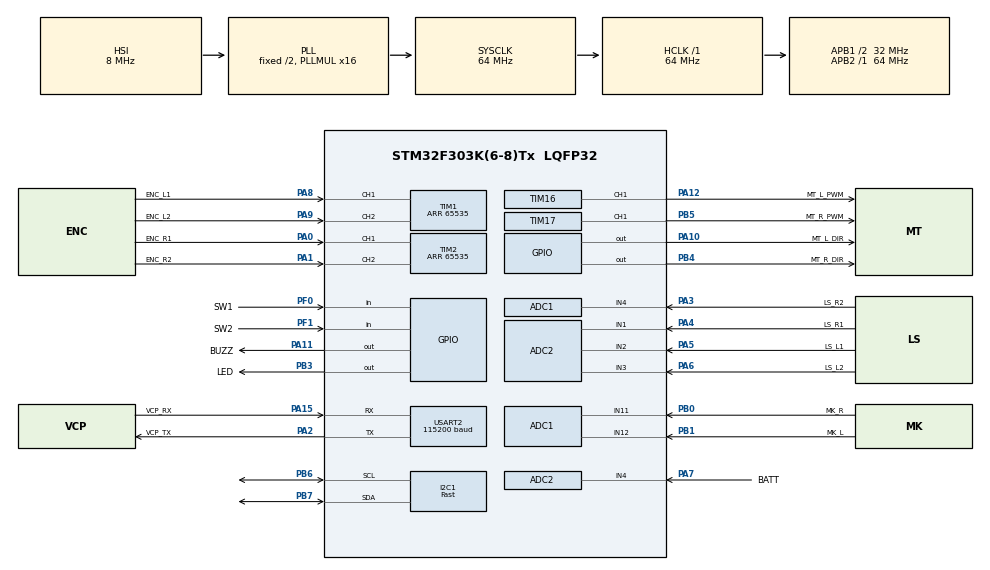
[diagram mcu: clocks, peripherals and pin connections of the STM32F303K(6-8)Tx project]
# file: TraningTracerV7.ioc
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ADC1.Channel-2\#ChannelRegularConversion=ADC_CHANNEL_4
ADC1.Channel-3\#ChannelRegularConversion=ADC_CHANNEL_11
ADC1.Channel-4\#ChannelRegularConversion=ADC_CHANNEL_12
ADC1.ClockPrescaler=ADC_CLOCK_SYNC_PCLK_DIV4
ADC1.ContinuousConvMode=ENABLE
ADC1.DMAContinuousRequests=ENABLE
ADC1.EOCSelection=ADC_EOC_SEQ_CONV
ADC1.EnableRegularConversion=ENABLE
ADC1.NbrOfConversion=3
ADC1.NbrOfConversionFlag=1
ADC1.Offset-2\#ChannelRegularConversion=0
ADC1.Offset-3\#ChannelRegularConversion=0
ADC1.Offset-4\#ChannelRegularConversion=0
ADC1.OffsetNumber-2\#ChannelRegularConversion=ADC_OFFSET_NONE
ADC1.OffsetNumber-3\#ChannelRegularConversion=ADC_OFFSET_NONE
ADC1.OffsetNumber-4\#ChannelRegularConversion=ADC_OFFSET_NONE
ADC1.Rank-2\#ChannelRegularConversion=1
ADC1.Rank-3\#ChannelRegularConversion=2
ADC1.Rank-4\#ChannelRegularConversion=3
ADC1.SamplingTime-2\#ChannelRegularConversion=ADC_SAMPLETIME_181CYCLES_5
ADC1.SamplingTime-3\#ChannelRegularConversion=ADC_SAMPLETIME_181CYCLES_5
ADC1.SamplingTime-4\#ChannelRegularConversion=ADC_SAMPLETIME_181CYCLES_5
ADC1.SubFamily=STM32F303x8
ADC1.master=1
ADC2.Channel-1\#ChannelRegularConversion=ADC_CHANNEL_1
ADC2.Channel-2\#ChannelRegularConversion=ADC_CHANNEL_2
ADC2.Channel-3\#ChannelRegularConversion=ADC_CHANNEL_3
ADC2.Channel-4\#ChannelRegularConversion=ADC_CHANNEL_4
ADC2.ClockPrescaler=ADC_CLOCK_SYNC_PCLK_DIV4
ADC2.ContinuousConvMode=ENABLE
ADC2.DMAContinuousRequests=ENABLE
ADC2.EOCSelection=ADC_EOC_SEQ_CONV
ADC2.EnableRegularConversion=ENABLE
ADC2.NbrOfConversion=4
ADC2.NbrOfConversionFlag=1
ADC2.Offset-1\#ChannelRegularConversion=0
ADC2.Offset-2\#ChannelRegularConversion=0
ADC2.Offset-3\#ChannelRegularConversion=0
ADC2.Offset-4\#ChannelRegularConversion=0
ADC2.OffsetNumber-1\#ChannelRegularConversion=ADC_OFFSET_NONE
ADC2.OffsetNumber-2\#ChannelRegularConversion=ADC_OFFSET_NONE
ADC2.OffsetNumber-3\#ChannelRegularConversion=ADC_OFFSET_NONE
ADC2.OffsetNumber-4\#ChannelRegularConversion=ADC_OFFSET_NONE
ADC2.Rank-1\#ChannelRegularConversion=1
ADC2.Rank-2\#ChannelRegularConversion=2
ADC2.Rank-3\#ChannelRegularConversion=3
ADC2.Rank-4\#ChannelRegularConversion=4
ADC2.SamplingTime-1\#ChannelRegularConversion=ADC_SAMPLETIME_181CYCLES_5
ADC2.SamplingTime-2\#ChannelRegularConversion=ADC_SAMPLETIME_181CYCLES_5
ADC2.SamplingTime-3\#ChannelRegularConversion=ADC_SAMPLETIME_181CYCLES_5
ADC2.SamplingTime-4\#ChannelRegularConversion=ADC_SAMPLETIME_181CYCLES_5
ADC2.SubFamily=STM32F303x8
Dma.ADC1.2.Direction=DMA_PERIPH_TO_MEMORY
Dma.ADC1.2.Instance=DMA1_Channel1
Dma.ADC1.2.MemDataAlignment=DMA_MDATAALIGN_HALFWORD
Dma.ADC1.2.MemInc=DMA_MINC_ENABLE
Dma.ADC1.2.Mode=DMA_CIRCULAR
Dma.ADC1.2.PeriphDataAlignment=DMA_PDATAALIGN_HALFWORD
Dma.ADC1.2.PeriphInc=DMA_PINC_DISABLE
Dma.ADC1.2.Priority=DMA_PRIORITY_HIGH
Dma.ADC2.3.Direction=DMA_PERIPH_TO_MEMORY
Dma.ADC2.3.Instance=DMA1_Channel2
Dma.ADC2.3.MemDataAlignment=DMA_MDATAALIGN_HALFWORD
Dma.ADC2.3.MemInc=DMA_MINC_ENABLE
Dma.ADC2.3.Mode=DMA_CIRCULAR
Dma.ADC2.3.PeriphDataAlignment=DMA_PDATAALIGN_HALFWORD
Dma.ADC2.3.PeriphInc=DMA_PINC_DISABLE
Dma.ADC2.3.Priority=DMA_PRIORITY_HIGH
Dma.I2C1_RX.4.Direction=DMA_PERIPH_TO_MEMORY
Dma.I2C1_RX.4.Instance=DMA1_Channel3
Dma.I2C1_RX.4.MemDataAlignment=DMA_MDATAALIGN_BYTE
Dma.I2C1_RX.4.MemInc=DMA_MINC_ENABLE
Dma.I2C1_RX.4.Mode=DMA_NORMAL
Dma.I2C1_RX.4.PeriphDataAlignment=DMA_PDATAALIGN_BYTE
Dma.I2C1_RX.4.PeriphInc=DMA_PINC_DISABLE
Dma.I2C1_RX.4.Priority=DMA_PRIORITY_LOW
Dma.I2C1_TX.5.Direction=DMA_MEMORY_TO_PERIPH
Dma.I2C1_TX.5.Instance=DMA1_Channel4
Dma.I2C1_TX.5.MemDataAlignment=DMA_MDATAALIGN_BYTE
Dma.I2C1_TX.5.MemInc=DMA_MINC_ENABLE
Dma.I2C1_TX.5.Mode=DMA_NORMAL
Dma.I2C1_TX.5.PeriphDataAlignment=DMA_PDATAALIGN_BYTE
Dma.I2C1_TX.5.PeriphInc=DMA_PINC_DISABLE
Dma.I2C1_TX.5.Priority=DMA_PRIORITY_LOW
Dma.Request0=USART2_RX
Dma.Request1=USART2_TX
Dma.Request2=ADC1
Dma.Request3=ADC2
Dma.Request4=I2C1_RX
Dma.Request5=I2C1_TX
Dma.USART2_RX.0.Direction=DMA_PERIPH_TO_MEMORY
Dma.USART2_RX.0.Instance=DMA1_Channel6
Dma.USART2_RX.0.MemDataAlignment=DMA_MDATAALIGN_BYTE
Dma.USART2_RX.0.MemInc=DMA_MINC_ENABLE
Dma.USART2_RX.0.Mode=DMA_CIRCULAR
Dma.USART2_RX.0.PeriphDataAlignment=DMA_PDATAALIGN_BYTE
Dma.USART2_RX.0.PeriphInc=DMA_PINC_DISABLE
Dma.USART2_RX.0.Priority=DMA_PRIORITY_LOW
Dma.USART2_TX.1.Direction=DMA_MEMORY_TO_PERIPH
Dma.USART2_TX.1.Instance=DMA1_Channel7
Dma.USART2_TX.1.MemDataAlignment=DMA_MDATAALIGN_BYTE
Dma.USART2_TX.1.MemInc=DMA_MINC_ENABLE
Dma.USART2_TX.1.Mode=DMA_NORMAL
Dma.USART2_TX.1.PeriphDataAlignment=DMA_PDATAALIGN_BYTE
Dma.USART2_TX.1.PeriphInc=DMA_PINC_DISABLE
Dma.USART2_TX.1.Priority=DMA_PRIORITY_LOW
I2C1.I2C_Speed_Mode=I2C_Fast
I2C1.Timing=0x0000020B
Mcu.Family=STM32F3
Mcu.Name=STM32F303K(6-8)Tx
Mcu.Package=LQFP32
NVIC.DMA1_Channel1_IRQn=true\:0\:0\:true\:false\:true\:false\:true
NVIC.DMA1_Channel2_IRQn=true\:0\:0\:false\:false\:true\:false\:true
NVIC.DMA1_Channel3_IRQn=true\:0\:0\:false\:false\:true\:false\:true
NVIC.DMA1_Channel4_IRQn=true\:0\:0\:false\:false\:true\:false\:true
NVIC.DMA1_Channel6_IRQn=true\:2\:0\:true\:false\:true\:false\:true
NVIC.DMA1_Channel7_IRQn=true\:2\:0\:true\:false\:true\:false\:true
NVIC.I2C1_EV_IRQn=true\:0\:0\:false\:false\:true\:true\:true
NVIC.PriorityGroup=NVIC_PRIORITYGROUP_4
NVIC.USART2_IRQn=true\:2\:0\:true\:false\:true\:true\:true
PA0.GPIO_Label=ENC_R1
PA0.Signal=S_TIM2_CH1_ETR
PA1.GPIO_Label=ENC_R2
PA1.Signal=S_TIM2_CH2
PA10.GPIO_Label=MT_L_DIR
PA10.Signal=GPIO_Output
PA11.GPIO_Label=BUZZ
PA11.Signal=GPIO_Output
PA12.GPIO_Label=MT_L_PWM
PA12.Signal=S_TIM16_CH1
PA13.GPIO_Label=SWDIO
PA13.Mode=Serial_Wire
PA13.Signal=SYS_JTMS-SWDIO
PA14.GPIO_Label=SWCLK
PA14.Mode=Serial_Wire
PA14.Signal=SYS_JTCK-SWCLK
PA15.GPIO_Label=VCP_RX
PA15.Mode=Asynchronous
PA15.Signal=USART2_RX
PA2.GPIO_Label=VCP_TX
PA2.Mode=Asynchronous
PA2.Signal=USART2_TX
PA3.GPIO_Label=LS_R2
PA3.Mode=IN4-Single-Ended
PA3.Signal=ADC1_IN4
PA4.GPIO_Label=LS_R1
PA4.Mode=IN1-Single-Ended
PA4.Signal=ADC2_IN1
PA5.GPIO_Label=LS_L1
PA5.Mode=IN2-Single-Ended
PA5.Signal=ADC2_IN2
PA6.GPIO_Label=LS_L2
PA6.Mode=IN3-Single-Ended
PA6.Signal=ADC2_IN3
PA7.GPIO_Label=BATT
PA7.Mode=IN4-Single-Ended
PA7.Signal=ADC2_IN4
PA8.GPIO_Label=ENC_L1
PA8.Signal=S_TIM1_CH1
PA9.GPIO_Label=ENC_L2
PA9.Signal=S_TIM1_CH2
PB0.GPIO_Label=MK_R
PB0.Mode=IN11-Single-Ended
PB0.Signal=ADC1_IN11
PB1.GPIO_Label=MK_L
PB1.Mode=IN12-Single-Ended
PB1.Signal=ADC1_IN12
PB3.GPIO_Label=LED
PB3.Signal=GPIO_Output
PB4.GPIO_Label=MT_R_DIR
PB4.Signal=GPIO_Output
PB5.GPIO_Label=MT_R_PWM
PB5.Signal=S_TIM17_CH1
PB6.Mode=I2C
PB6.Signal=I2C1_SCL
PB7.Mode=I2C
PB7.Signal=I2C1_SDA
PF0\ /\ OSC_IN.GPIO_Label=SW1
PF0\ /\ OSC_IN.GPIO_PuPd=GPIO_PULLUP
PF0\ /\ OSC_IN.Signal=GPIO_Input
PF1\ /\ OSC_OUT.GPIO_Label=SW2
PF1\ /\ OSC_OUT.GPIO_PuPd=GPIO_PULLUP
PF1\ /\ OSC_OUT.Signal=GPIO_Input
ProjectManager.HeapSize=0x200
ProjectManager.StackSize=0x400
ProjectManager.TargetToolchain=STM32CubeIDE
RCC.AHBFreq_Value=64000000
RCC.APB1CLKDivider=RCC_HCLK_DIV2
RCC.APB1Freq_Value=32000000
RCC.APB1TimFreq_Value=64000000
RCC.APB2Freq_Value=64000000
RCC.APB2TimFreq_Value=64000000
RCC.CortexFreq_Value=64000000
RCC.HCLKFreq_Value=64000000
RCC.HSE_VALUE=8000000
RCC.HSI_VALUE=8000000
RCC.PLLMUL=RCC_PLL_MUL16
RCC.SYSCLKFreq_VALUE=64000000
RCC.SYSCLKSourceVirtual=RCC_SYSCLKSOURCE_PLLCLK
SH.S_TIM16_CH1.0=TIM16_CH1,PWM Generation1 CH1
SH.S_TIM17_CH1.0=TIM17_CH1,PWM Generation1 CH1
SH.S_TIM1_CH1.0=TIM1_CH1,Encoder_Interface
SH.S_TIM1_CH2.0=TIM1_CH2,Encoder_Interface
SH.S_TIM2_CH1_ETR.0=TIM2_CH1,Encoder_Interface
SH.S_TIM2_CH2.0=TIM2_CH2,Encoder_Interface
TIM1.AutoReloadPreload=TIM_AUTORELOAD_PRELOAD_ENABLE
TIM1.EncoderMode=TIM_ENCODERMODE_TI12
TIM1.IC1Filter=0
TIM1.IC1Polarity=TIM_ICPOLARITY_RISING
TIM1.IC2Filter=0
TIM1.IC2Polarity=TIM_ICPOLARITY_FALLING
TIM1.Period=65535
TIM16.AutoReloadPreload=TIM_AUTORELOAD_PRELOAD_ENABLE
TIM16.Channel=TIM_CHANNEL_1
TIM16.Period=64000
TIM17.AutoReloadPreload=TIM_AUTORELOAD_PRELOAD_ENABLE
TIM17.Channel=TIM_CHANNEL_1
TIM17.OCPolarity_1=TIM_OCPOLARITY_HIGH
TIM17.Period=64000
TIM17.Prescaler=0
TIM17.Pulse=0
TIM2.AutoReloadPreload=TIM_AUTORELOAD_PRELOAD_ENABLE
TIM2.EncoderMode=TIM_ENCODERMODE_TI12
TIM2.IC1Polarity=TIM_ICPOLARITY_RISING
TIM2.IC2Polarity=TIM_ICPOLARITY_RISING
TIM2.Period=65535
USART2.BaudRate=115200
USART2.DMADisableonRxErrorParam=ADVFEATURE_DMA_DISABLEONRXERROR
USART2.OverrunDisableParam=ADVFEATURE_OVERRUN_DISABLE
USART2.VirtualMode-Asynchronous=VM_ASYNC
VP_TIM16_VS_ClockSourceINT.Mode=Enable_Timer
VP_TIM17_VS_ClockSourceINT.Mode=Enable_Timer
board=NUCLEO-F303K8

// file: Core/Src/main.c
/* USER CODE BEGIN Header */
/**
  ******************************************************************************
  * @file           : main.c
  * @brief          : Main program body
  ******************************************************************************
  * @attention
  *
  * <h2><center>&copy; Copyright (c) 2020 STMicroelectronics.
  * All rights reserved.</center></h2>
  *
  * This software component is licensed by ST under BSD 3-Clause license,
  * the "License"; You may not use this file except in compliance with the
  * License. You may obtain a copy of the License at:
  *                        opensource.org/licenses/BSD-3-Clause
  *
  ******************************************************************************
  */
/* USER CODE END Header */

#include "main.h"
#include "adc.h"
#include "dma.h"
#include "i2c.h"
#include "tim.h"
#include "usart.h"
#include "gpio.h"

/* USER CODE BEGIN Includes */
#include <stdio.h>
#include "index.h"
#include "param.h"
#include "imu_bmx055.h"
/* USER CODE END Includes */

void SystemClock_Config(void);

int main(void)
{

  /* MCU Configuration--------------------------------------------------------*/

  /* Reset of all peripherals, Initializes the Flash interface and the Systick. */
  HAL_Init();

  /* Configure the system clock */
  SystemClock_Config();

  /* Initialize all configured peripherals */
  MX_GPIO_Init();
  MX_DMA_Init();
  MX_ADC1_Init();
  MX_ADC2_Init();
  MX_TIM1_Init();
  MX_TIM2_Init();
  MX_TIM17_Init();
  MX_USART2_UART_Init();
  MX_I2C1_Init();
  MX_TIM16_Init();

  /* USER CODE BEGIN 2 */
  LED_ON();							// LED点灯
  MOT_INIT();						// モータ用タイマ�?�初期設定関数
  ENC_INIT();						// エンコー�?ー用タイマ�?�初期設定関数

  Communicate_Initialize();			// ターミナルとの通信初期設定関数
  Sensor_Initialize();				// ラインセンサ用AD変換の初期設定関数
  Battery_LimiterVoltage();			// 起動時のバッ�?リの電圧監�?
  //I2C1_BMX055_Init();				// 慣性センサの初期設定関数

  /* USER CODE END 2 */

  /* Infinite loop */
  /* USER CODE BEGIN WHILE */
  uint8_t mode_sellct = 0;
  while (1) {

	  //モードインクリメント�?��?
	  if(SW1_ONOFF() == SW_ON){
		HAL_Delay(50);					//チャタリング回避
		while(SW1_ONOFF() == SW_ON);	//スイ�?チが離されるまで�?つ
		Buzz_Set(1,50);
		HAL_Delay(50);					//チャタリング回避
		++mode_sellct;
	  }
	  if(SW2_ONOFF() == SW_ON ){
		HAL_Delay(50);					//チャタリング回避
		while(SW2_ONOFF() == SW_ON);	//スイ�?チが離されるまで�?つ
		Buzz_Set(2,50);
		HAL_Delay(50);					//チャタリング回避
		break;
	  }

	  //モードオーバ�?�フロー処�?と表示
	  if(mode_sellct > 2){mode_sellct = 0;}
	  printf("<Mode_sellect> Mode: %d \r\n", mode_sellct);
	  printf("%c[0J", 0x1b);
	  printf("%c[%dA", 0x1b, 1);

  }

  switch( mode_sellct ) {
  	  case 0: Robo_Tracer();	break;
  	  case 1: Line_Tracer();	break;
  	  case 2: Module_Test();	break;

  }

  while (1)
    {
    /* USER CODE END WHILE */

  }
}

void SystemClock_Config(void)
{
  RCC_OscInitTypeDef RCC_OscInitStruct = {0};
  RCC_ClkInitTypeDef RCC_ClkInitStruct = {0};
  RCC_PeriphCLKInitTypeDef PeriphClkInit = {0};

  /** Initializes the CPU, AHB and APB busses clocks
  */
  RCC_OscInitStruct.OscillatorType = RCC_OSCILLATORTYPE_HSI;
  RCC_OscInitStruct.HSIState = RCC_HSI_ON;
  RCC_OscInitStruct.HSICalibrationValue = RCC_HSICALIBRATION_DEFAULT;
  RCC_OscInitStruct.PLL.PLLState = RCC_PLL_ON;
  RCC_OscInitStruct.PLL.PLLSource = RCC_PLLSOURCE_HSI;
  RCC_OscInitStruct.PLL.PLLMUL = RCC_PLL_MUL16;
  if (HAL_RCC_OscConfig(&RCC_OscInitStruct) != HAL_OK)
  {
    Error_Handler();
  }
  /** Initializes the CPU, AHB and APB busses clocks
  */
  RCC_ClkInitStruct.ClockType = RCC_CLOCKTYPE_HCLK|RCC_CLOCKTYPE_SYSCLK
                              |RCC_CLOCKTYPE_PCLK1|RCC_CLOCKTYPE_PCLK2;
  RCC_ClkInitStruct.SYSCLKSource = RCC_SYSCLKSOURCE_PLLCLK;
  RCC_ClkInitStruct.AHBCLKDivider = RCC_SYSCLK_DIV1;
  RCC_ClkInitStruct.APB1CLKDivider = RCC_HCLK_DIV2;
  RCC_ClkInitStruct.APB2CLKDivider = RCC_HCLK_DIV1;

  if (HAL_RCC_ClockConfig(&RCC_ClkInitStruct, FLASH_LATENCY_2) != HAL_OK)
  {
    Error_Handler();
  }
  PeriphClkInit.PeriphClockSelection = RCC_PERIPHCLK_I2C1|RCC_PERIPHCLK_TIM1;
  PeriphClkInit.I2c1ClockSelection = RCC_I2C1CLKSOURCE_HSI;
  PeriphClkInit.Tim1ClockSelection = RCC_TIM1CLK_HCLK;
  if (HAL_RCCEx_PeriphCLKConfig(&PeriphClkInit) != HAL_OK)
  {
    Error_Handler();
  }
}

void Error_Handler(void)
{
}

/************************ (C) COPYRIGHT STMicroelectronics *****END OF FILE****/
